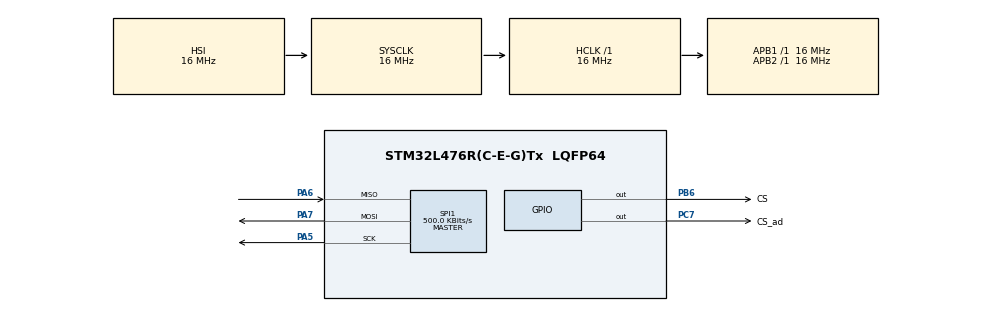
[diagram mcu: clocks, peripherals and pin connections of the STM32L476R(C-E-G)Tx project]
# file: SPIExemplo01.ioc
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Mcu.Family=STM32L4
Mcu.Name=STM32L476R(C-E-G)Tx
Mcu.Package=LQFP64
NVIC.PriorityGroup=NVIC_PRIORITYGROUP_4
PA5.Mode=Full_Duplex_Master
PA5.Signal=SPI1_SCK
PA6.Mode=Full_Duplex_Master
PA6.Signal=SPI1_MISO
PA7.Mode=Full_Duplex_Master
PA7.Signal=SPI1_MOSI
PB6.GPIO_Label=CS
PB6.Signal=GPIO_Output
PC7.GPIO_Label=CS_ad
PC7.Signal=GPIO_Output
ProjectManager.HeapSize=0x200
ProjectManager.StackSize=0x400
ProjectManager.TargetToolchain=STM32CubeIDE
RCC.AHBFreq_Value=16000000
RCC.APB1Freq_Value=16000000
RCC.APB1TimFreq_Value=16000000
RCC.APB2Freq_Value=16000000
RCC.APB2TimFreq_Value=16000000
RCC.CortexFreq_Value=16000000
RCC.HCLKFreq_Value=16000000
RCC.HSE_VALUE=8000000
RCC.HSI_VALUE=16000000
RCC.LSE_VALUE=32768
RCC.MSI_VALUE=4000000
RCC.SYSCLKFreq_VALUE=16000000
RCC.SYSCLKSource=RCC_SYSCLKSOURCE_HSI
RCC.VCOOutputFreq_Value=32000000
SPI1.BaudRatePrescaler=SPI_BAUDRATEPRESCALER_32
SPI1.CalculateBaudRate=500.0 KBits/s
SPI1.DataSize=SPI_DATASIZE_16BIT
SPI1.Direction=SPI_DIRECTION_2LINES
SPI1.Mode=SPI_MODE_MASTER
SPI1.NSSPMode=SPI_NSS_PULSE_DISABLE
SPI1.VirtualType=VM_MASTER
board=custom

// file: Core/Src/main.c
/* USER CODE BEGIN Header */
/**
  ******************************************************************************
  * @file           : main.c
  * @brief          : Main program body
  ******************************************************************************
  * @attention
  *
  * <h2><center>&copy; Copyright (c) 2021 STMicroelectronics.
  * All rights reserved.</center></h2>
  *
  * This software component is licensed by ST under BSD 3-Clause license,
  * the "License"; You may not use this file except in compliance with the
  * License. You may obtain a copy of the License at:
  *                        opensource.org/licenses/BSD-3-Clause
  *
  ******************************************************************************
  */
/* USER CODE END Header */
#include "main.h"

/* USER CODE BEGIN Includes */

uint16_t dadosadc; //Variável Para Armazenar Dados do ADC PORTA CH0;
float adcdados; //Variável ADC - CH0;

/* USER CODE END Includes */

SPI_HandleTypeDef hspi1;

void SystemClock_Config(void);
static void MX_GPIO_Init(void);
static void MX_SPI1_Init(void);

int main(void)
{

  /* MCU Configuration--------------------------------------------------------*/

  /* Reset of all peripherals, Initializes the Flash interface and the Systick. */
  HAL_Init();

  /* Configure the system clock */
  SystemClock_Config();

  /* Initialize all configured peripherals */
  MX_GPIO_Init();
  MX_SPI1_Init();
  /* USER CODE BEGIN 2 */

  HAL_GPIO_WritePin(GPIOB, CS_Pin, 1); //Chip Select em Alto; (DAC)
  HAL_GPIO_WritePin(GPIOC, CS_ad_Pin, 1); //Chip Select em Alto; (ADC)
  HAL_Delay(100); //Aguarda Tempo.

  /* USER CODE END 2 */

  /* Infinite loop */
  while (1)
  {

    /* USER CODE BEGIN 3 */

	  //MCP4921 - Lógica Básica:
	  HAL_GPIO_WritePin(GPIOB, CS_Pin, 0); //Chip Select em Baixo;
	  uint16_t dados=0x7000; //Configuração do MCP4921;
	  uint16_t dac;//Dados Requeridos;
	  dac++; if(dac>4094){dac=0;}
	  dados=dados+dac; //Valor do SPI;
	  HAL_SPI_Transmit(&hspi1, &dados, 1, 100);
	  HAL_GPIO_WritePin(GPIOB, CS_Pin, 1); //Chip Select em Alto;

	  //MCP3008 - Lógica Básica:
	  HAL_GPIO_WritePin(GPIOC, CS_ad_Pin, 0); //Chip Select em Baixo;
	  uint16_t configadc=0x30; //Variável de Configuração;
	  HAL_SPI_Transmit(&hspi1, &configadc, 1, 100); //Envia Configuração;
	  HAL_SPI_Receive(&hspi1, &dadosadc, 1, 100); //Recebe dados SPI e armazena na Variável;
	  dadosadc=((dadosadc & 0x7FE0)>>5); //Amostra em Resolução;
	  adcdados=dadosadc*0.003225806451; //Amostra em Tensão;
	  HAL_GPIO_WritePin(GPIOC, CS_ad_Pin, 1); //Chip Select em Alto;

	  HAL_Delay(50); //Aguarda 50ms

  }
  /* USER CODE END 3 */
}

void SystemClock_Config(void)
{
  RCC_OscInitTypeDef RCC_OscInitStruct = {0};
  RCC_ClkInitTypeDef RCC_ClkInitStruct = {0};

  /** Configure the main internal regulator output voltage
  */
  if (HAL_PWREx_ControlVoltageScaling(PWR_REGULATOR_VOLTAGE_SCALE1) != HAL_OK)
  {
    Error_Handler();
  }
  /** Initializes the RCC Oscillators according to the specified parameters
  * in the RCC_OscInitTypeDef structure.
  */
  RCC_OscInitStruct.OscillatorType = RCC_OSCILLATORTYPE_HSI;
  RCC_OscInitStruct.HSIState = RCC_HSI_ON;
  RCC_OscInitStruct.HSICalibrationValue = RCC_HSICALIBRATION_DEFAULT;
  RCC_OscInitStruct.PLL.PLLState = RCC_PLL_NONE;
  if (HAL_RCC_OscConfig(&RCC_OscInitStruct) != HAL_OK)
  {
    Error_Handler();
  }
  /** Initializes the CPU, AHB and APB buses clocks
  */
  RCC_ClkInitStruct.ClockType = RCC_CLOCKTYPE_HCLK|RCC_CLOCKTYPE_SYSCLK
                              |RCC_CLOCKTYPE_PCLK1|RCC_CLOCKTYPE_PCLK2;
  RCC_ClkInitStruct.SYSCLKSource = RCC_SYSCLKSOURCE_HSI;
  RCC_ClkInitStruct.AHBCLKDivider = RCC_SYSCLK_DIV1;
  RCC_ClkInitStruct.APB1CLKDivider = RCC_HCLK_DIV1;
  RCC_ClkInitStruct.APB2CLKDivider = RCC_HCLK_DIV1;

  if (HAL_RCC_ClockConfig(&RCC_ClkInitStruct, FLASH_LATENCY_0) != HAL_OK)
  {
    Error_Handler();
  }
}

static void MX_SPI1_Init(void)
{

  /* SPI1 parameter configuration*/
  hspi1.Instance = SPI1;
  hspi1.Init.Mode = SPI_MODE_MASTER;
  hspi1.Init.Direction = SPI_DIRECTION_2LINES;
  hspi1.Init.DataSize = SPI_DATASIZE_16BIT;
  hspi1.Init.CLKPolarity = SPI_POLARITY_LOW;
  hspi1.Init.CLKPhase = SPI_PHASE_1EDGE;
  hspi1.Init.NSS = SPI_NSS_SOFT;
  hspi1.Init.BaudRatePrescaler = SPI_BAUDRATEPRESCALER_32;
  hspi1.Init.FirstBit = SPI_FIRSTBIT_MSB;
  hspi1.Init.TIMode = SPI_TIMODE_DISABLE;
  hspi1.Init.CRCCalculation = SPI_CRCCALCULATION_DISABLE;
  hspi1.Init.CRCPolynomial = 7;
  hspi1.Init.CRCLength = SPI_CRC_LENGTH_DATASIZE;
  hspi1.Init.NSSPMode = SPI_NSS_PULSE_DISABLE;
  if (HAL_SPI_Init(&hspi1) != HAL_OK)
  {
    Error_Handler();
  }

}

static void MX_GPIO_Init(void)
{
  GPIO_InitTypeDef GPIO_InitStruct = {0};

  /* GPIO Ports Clock Enable */
  __HAL_RCC_GPIOA_CLK_ENABLE();
  __HAL_RCC_GPIOC_CLK_ENABLE();
  __HAL_RCC_GPIOB_CLK_ENABLE();

  /*Configure GPIO pin Output Level */
  HAL_GPIO_WritePin(CS_ad_GPIO_Port, CS_ad_Pin, GPIO_PIN_RESET);

  /*Configure GPIO pin Output Level */
  HAL_GPIO_WritePin(CS_GPIO_Port, CS_Pin, GPIO_PIN_RESET);

  /*Configure GPIO pin : CS_ad_Pin */
  GPIO_InitStruct.Pin = CS_ad_Pin;
  GPIO_InitStruct.Mode = GPIO_MODE_OUTPUT_PP;
  GPIO_InitStruct.Pull = GPIO_NOPULL;
  GPIO_InitStruct.Speed = GPIO_SPEED_FREQ_LOW;
  HAL_GPIO_Init(CS_ad_GPIO_Port, &GPIO_InitStruct);

  /*Configure GPIO pin : CS_Pin */
  GPIO_InitStruct.Pin = CS_Pin;
  GPIO_InitStruct.Mode = GPIO_MODE_OUTPUT_PP;
  GPIO_InitStruct.Pull = GPIO_NOPULL;
  GPIO_InitStruct.Speed = GPIO_SPEED_FREQ_LOW;
  HAL_GPIO_Init(CS_GPIO_Port, &GPIO_InitStruct);

}

void Error_Handler(void)
{
  __disable_irq();
  while (1)
  {
  }
}

/************************ (C) COPYRIGHT STMicroelectronics *****END OF FILE****/
